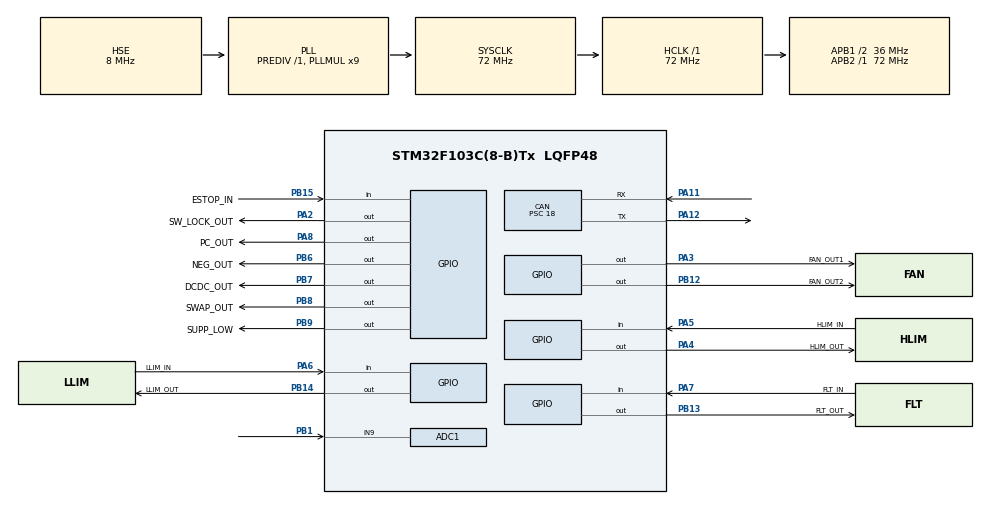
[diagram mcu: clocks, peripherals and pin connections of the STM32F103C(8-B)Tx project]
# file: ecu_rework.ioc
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ADC1.Channel-0\#ChannelRegularConversion=ADC_CHANNEL_9
ADC1.ExternalTrigConv=ADC_EXTERNALTRIGCONV_T3_TRGO
ADC1.NbrOfConversionFlag=1
ADC1.Rank-0\#ChannelRegularConversion=1
ADC1.SamplingTime-0\#ChannelRegularConversion=ADC_SAMPLETIME_239CYCLES_5
ADC1.master=1
CAN.BS1=CAN_BS1_12TQ
CAN.BS2=CAN_BS2_3TQ
CAN.CalculateBaudRate=125000
CAN.CalculateTimeBit=8000
CAN.CalculateTimeQuantum=500.0
CAN.Prescaler=18
Mcu.Family=STM32F1
Mcu.Name=STM32F103C(8-B)Tx
Mcu.Package=LQFP48
NVIC.ADC1_2_IRQn=true\:3\:0\:true\:false\:true\:true\:true\:true
NVIC.PriorityGroup=NVIC_PRIORITYGROUP_4
NVIC.TIM2_IRQn=true\:2\:0\:true\:false\:true\:true\:true\:true
PA11.Mode=CAN_Activate
PA11.Signal=CAN_RX
PA12.Mode=CAN_Activate
PA12.Signal=CAN_TX
PA13.Mode=Serial_Wire
PA13.Signal=SYS_JTMS-SWDIO
PA14.Mode=Serial_Wire
PA14.Signal=SYS_JTCK-SWCLK
PA2.GPIO_Label=SW_LOCK_OUT
PA2.GPIO_Speed=GPIO_SPEED_FREQ_HIGH
PA2.Signal=GPIO_Output
PA3.GPIO_Label=FAN_OUT1
PA3.GPIO_Speed=GPIO_SPEED_FREQ_HIGH
PA3.PinState=GPIO_PIN_RESET
PA3.Signal=GPIO_Output
PA4.GPIO_Label=HLIM_OUT
PA4.GPIO_Speed=GPIO_SPEED_FREQ_HIGH
PA4.Signal=GPIO_Output
PA5.GPIO_Label=HLIM_IN
PA5.Signal=GPIO_Input
PA6.GPIO_Label=LLIM_IN
PA6.Signal=GPIO_Input
PA7.GPIO_Label=FLT_IN
PA7.Signal=GPIO_Input
PA8.GPIO_Label=PC_OUT
PA8.GPIO_Speed=GPIO_SPEED_FREQ_HIGH
PA8.Signal=GPIO_Output
PB1.Signal=ADCx_IN9
PB12.GPIO_Label=FAN_OUT2
PB12.GPIO_Speed=GPIO_SPEED_FREQ_HIGH
PB12.Signal=GPIO_Output
PB13.GPIO_Label=FLT_OUT
PB13.GPIO_Speed=GPIO_SPEED_FREQ_HIGH
PB13.Signal=GPIO_Output
PB14.GPIO_Label=LLIM_OUT
PB14.GPIO_Speed=GPIO_SPEED_FREQ_HIGH
PB14.Signal=GPIO_Output
PB15.GPIO_Label=ESTOP_IN
PB15.Signal=GPIO_Input
PB6.GPIO_Label=NEG_OUT
PB6.GPIO_Speed=GPIO_SPEED_FREQ_HIGH
PB6.Signal=GPIO_Output
PB7.GPIO_Label=DCDC_OUT
PB7.GPIO_Speed=GPIO_SPEED_FREQ_HIGH
PB7.Signal=GPIO_Output
PB8.GPIO_Label=SWAP_OUT
PB8.GPIO_Speed=GPIO_SPEED_FREQ_HIGH
PB8.Signal=GPIO_Output
PB9.GPIO_Label=SUPP_LOW
PB9.GPIO_Speed=GPIO_SPEED_FREQ_HIGH
PB9.Signal=GPIO_Output
PD0-OSC_IN.Mode=HSE-External-Oscillator
PD0-OSC_IN.Signal=RCC_OSC_IN
PD1-OSC_OUT.Mode=HSE-External-Oscillator
PD1-OSC_OUT.Signal=RCC_OSC_OUT
ProjectManager.HeapSize=0x200
ProjectManager.StackSize=0x400
ProjectManager.TargetToolchain=Makefile
RCC.ADCPresc=RCC_ADCPCLK2_DIV6
RCC.AHBFreq_Value=72000000
RCC.APB1CLKDivider=RCC_HCLK_DIV2
RCC.APB1Freq_Value=36000000
RCC.APB1TimFreq_Value=72000000
RCC.APB2Freq_Value=72000000
RCC.APB2TimFreq_Value=72000000
RCC.EnbaleCSS=true
RCC.HCLKFreq_Value=72000000
RCC.PLLMUL=RCC_PLL_MUL9
RCC.PLLSourceVirtual=RCC_PLLSOURCE_HSE
RCC.SYSCLKFreq_VALUE=72000000
RCC.SYSCLKSource=RCC_SYSCLKSOURCE_PLLCLK
RCC.USBFreq_Value=72000000
SH.ADCx_IN9.0=ADC1_IN9,IN9
TIM2.Period=49999
TIM2.Prescaler=71
TIM2.TIM_MasterOutputTrigger=TIM_TRGO_UPDATE
TIM3.Period=9999
TIM3.Prescaler=71
TIM3.TIM_MasterOutputTrigger=TIM_TRGO_UPDATE
TIM3.TIM_MasterSlaveMode=TIM_MASTERSLAVEMODE_ENABLE
VP_TIM2_VS_ClockSourceINT.Mode=Internal
VP_TIM3_VS_ClockSourceINT.Mode=Internal
board=custom

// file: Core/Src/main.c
/* USER CODE BEGIN Header */
/**
  ******************************************************************************
  * @file           : main.c
  * @brief          : Main program body
  ******************************************************************************
  * @attention
  *
  * <h2><center>&copy; Copyright (c) 2021 STMicroelectronics.
  * All rights reserved.</center></h2>
  *
  * This software component is licensed by ST under BSD 3-Clause license,
  * the "License"; You may not use this file except in compliance with the
  * License. You may obtain a copy of the License at:
  *                        opensource.org/licenses/BSD-3-Clause
  *
  ******************************************************************************
  */
/* USER CODE END Header */
#include "main.h"

/* USER CODE BEGIN Includes */
#include "sm.h"
/* USER CODE END Includes */

 ADC_HandleTypeDef hadc1;

CAN_HandleTypeDef hcan;

TIM_HandleTypeDef htim2;
TIM_HandleTypeDef htim3;

/* USER CODE BEGIN PV */
CAN_TxHeaderTypeDef zTxHeader;
/* USER CODE END PV */

void SystemClock_Config(void);
static void MX_GPIO_Init(void);
static void MX_ADC1_Init(void);
static void MX_CAN_Init(void);
static void MX_TIM2_Init(void);
static void MX_TIM3_Init(void);
/* USER CODE BEGIN PFP */
static void SUPP_InitAndStart(void);
/* USER CODE END PFP */

int main(void)
{

  /* MCU Configuration--------------------------------------------------------*/

  /* Reset of all peripherals, Initializes the Flash interface and the Systick. */
  HAL_Init();

  /* Configure the system clock */
  SystemClock_Config();

  /* Initialize all configured peripherals */
  MX_GPIO_Init();
  MX_ADC1_Init();
  MX_CAN_Init();
  MX_TIM2_Init();
  MX_TIM3_Init();
  /* USER CODE BEGIN 2 */
  HAL_CAN_Start(&hcan);
  __disable_irq();
  SM_Init();
  SUPP_InitAndStart();
  __enable_irq();
  /* USER CODE END 2 */

  /* Infinite loop */
  /* USER CODE BEGIN WHILE */
  while(1)
  {
	  SM_Update();
  }
    /* USER CODE END WHILE */

}

void SystemClock_Config(void)
{
  RCC_OscInitTypeDef RCC_OscInitStruct = {0};
  RCC_ClkInitTypeDef RCC_ClkInitStruct = {0};
  RCC_PeriphCLKInitTypeDef PeriphClkInit = {0};

  /** Initializes the RCC Oscillators according to the specified parameters
  * in the RCC_OscInitTypeDef structure.
  */
  RCC_OscInitStruct.OscillatorType = RCC_OSCILLATORTYPE_HSE;
  RCC_OscInitStruct.HSEState = RCC_HSE_ON;
  RCC_OscInitStruct.HSEPredivValue = RCC_HSE_PREDIV_DIV1;
  RCC_OscInitStruct.HSIState = RCC_HSI_ON;
  RCC_OscInitStruct.PLL.PLLState = RCC_PLL_ON;
  RCC_OscInitStruct.PLL.PLLSource = RCC_PLLSOURCE_HSE;
  RCC_OscInitStruct.PLL.PLLMUL = RCC_PLL_MUL9;
  if (HAL_RCC_OscConfig(&RCC_OscInitStruct) != HAL_OK)
  {
    Error_Handler();
  }

  /** Initializes the CPU, AHB and APB buses clocks
  */
  RCC_ClkInitStruct.ClockType = RCC_CLOCKTYPE_HCLK|RCC_CLOCKTYPE_SYSCLK
                              |RCC_CLOCKTYPE_PCLK1|RCC_CLOCKTYPE_PCLK2;
  RCC_ClkInitStruct.SYSCLKSource = RCC_SYSCLKSOURCE_PLLCLK;
  RCC_ClkInitStruct.AHBCLKDivider = RCC_SYSCLK_DIV1;
  RCC_ClkInitStruct.APB1CLKDivider = RCC_HCLK_DIV2;
  RCC_ClkInitStruct.APB2CLKDivider = RCC_HCLK_DIV1;

  if (HAL_RCC_ClockConfig(&RCC_ClkInitStruct, FLASH_LATENCY_2) != HAL_OK)
  {
    Error_Handler();
  }
  PeriphClkInit.PeriphClockSelection = RCC_PERIPHCLK_ADC;
  PeriphClkInit.AdcClockSelection = RCC_ADCPCLK2_DIV6;
  if (HAL_RCCEx_PeriphCLKConfig(&PeriphClkInit) != HAL_OK)
  {
    Error_Handler();
  }

  /** Enables the Clock Security System
  */
  HAL_RCC_EnableCSS();
}

static void MX_ADC1_Init(void)
{

  ADC_ChannelConfTypeDef sConfig = {0};

  /** Common config
  */
  hadc1.Instance = ADC1;
  hadc1.Init.ScanConvMode = ADC_SCAN_DISABLE;
  hadc1.Init.ContinuousConvMode = DISABLE;
  hadc1.Init.DiscontinuousConvMode = DISABLE;
  hadc1.Init.ExternalTrigConv = ADC_EXTERNALTRIGCONV_T3_TRGO;
  hadc1.Init.DataAlign = ADC_DATAALIGN_RIGHT;
  hadc1.Init.NbrOfConversion = 1;
  if (HAL_ADC_Init(&hadc1) != HAL_OK)
  {
    Error_Handler();
  }

  /** Configure Regular Channel
  */
  sConfig.Channel = ADC_CHANNEL_9;
  sConfig.Rank = ADC_REGULAR_RANK_1;
  sConfig.SamplingTime = ADC_SAMPLETIME_239CYCLES_5;
  if (HAL_ADC_ConfigChannel(&hadc1, &sConfig) != HAL_OK)
  {
    Error_Handler();
  }

}

static void MX_CAN_Init(void)
{

  hcan.Instance = CAN1;
  hcan.Init.Prescaler = 18;
  hcan.Init.Mode = CAN_MODE_NORMAL;
  hcan.Init.SyncJumpWidth = CAN_SJW_1TQ;
  hcan.Init.TimeSeg1 = CAN_BS1_12TQ;
  hcan.Init.TimeSeg2 = CAN_BS2_3TQ;
  hcan.Init.TimeTriggeredMode = DISABLE;
  hcan.Init.AutoBusOff = DISABLE;
  hcan.Init.AutoWakeUp = DISABLE;
  hcan.Init.AutoRetransmission = DISABLE;
  hcan.Init.ReceiveFifoLocked = DISABLE;
  hcan.Init.TransmitFifoPriority = DISABLE;
  if (HAL_CAN_Init(&hcan) != HAL_OK)
  {
    Error_Handler();
  }

}

static void MX_TIM2_Init(void)
{

  TIM_ClockConfigTypeDef sClockSourceConfig = {0};
  TIM_MasterConfigTypeDef sMasterConfig = {0};

  htim2.Instance = TIM2;
  htim2.Init.Prescaler = 71;
  htim2.Init.CounterMode = TIM_COUNTERMODE_UP;
  htim2.Init.Period = 49999;
  htim2.Init.ClockDivision = TIM_CLOCKDIVISION_DIV1;
  htim2.Init.AutoReloadPreload = TIM_AUTORELOAD_PRELOAD_DISABLE;
  if (HAL_TIM_Base_Init(&htim2) != HAL_OK)
  {
    Error_Handler();
  }
  sClockSourceConfig.ClockSource = TIM_CLOCKSOURCE_INTERNAL;
  if (HAL_TIM_ConfigClockSource(&htim2, &sClockSourceConfig) != HAL_OK)
  {
    Error_Handler();
  }
  sMasterConfig.MasterOutputTrigger = TIM_TRGO_UPDATE;
  sMasterConfig.MasterSlaveMode = TIM_MASTERSLAVEMODE_DISABLE;
  if (HAL_TIMEx_MasterConfigSynchronization(&htim2, &sMasterConfig) != HAL_OK)
  {
    Error_Handler();
  }

}

static void MX_TIM3_Init(void)
{

  TIM_ClockConfigTypeDef sClockSourceConfig = {0};
  TIM_MasterConfigTypeDef sMasterConfig = {0};

  htim3.Instance = TIM3;
  htim3.Init.Prescaler = 71;
  htim3.Init.CounterMode = TIM_COUNTERMODE_UP;
  htim3.Init.Period = 9999;
  htim3.Init.ClockDivision = TIM_CLOCKDIVISION_DIV1;
  htim3.Init.AutoReloadPreload = TIM_AUTORELOAD_PRELOAD_DISABLE;
  if (HAL_TIM_Base_Init(&htim3) != HAL_OK)
  {
    Error_Handler();
  }
  sClockSourceConfig.ClockSource = TIM_CLOCKSOURCE_INTERNAL;
  if (HAL_TIM_ConfigClockSource(&htim3, &sClockSourceConfig) != HAL_OK)
  {
    Error_Handler();
  }
  sMasterConfig.MasterOutputTrigger = TIM_TRGO_UPDATE;
  sMasterConfig.MasterSlaveMode = TIM_MASTERSLAVEMODE_ENABLE;
  if (HAL_TIMEx_MasterConfigSynchronization(&htim3, &sMasterConfig) != HAL_OK)
  {
    Error_Handler();
  }

}

static void MX_GPIO_Init(void)
{
  GPIO_InitTypeDef GPIO_InitStruct = {0};

  /* GPIO Ports Clock Enable */
  __HAL_RCC_GPIOD_CLK_ENABLE();
  __HAL_RCC_GPIOA_CLK_ENABLE();
  __HAL_RCC_GPIOB_CLK_ENABLE();

  /*Configure GPIO pin Output Level */
  HAL_GPIO_WritePin(GPIOA, SW_LOCK_OUT_Pin|FAN_OUT1_Pin|HLIM_OUT_Pin|PC_OUT_Pin, GPIO_PIN_RESET);

  /*Configure GPIO pin Output Level */
  HAL_GPIO_WritePin(GPIOB, FAN_OUT2_Pin|FLT_OUT_Pin|LLIM_OUT_Pin|NEG_OUT_Pin
                          |DCDC_OUT_Pin|SWAP_OUT_Pin|SUPP_LOW_Pin, GPIO_PIN_RESET);

  /*Configure GPIO pins : SW_LOCK_OUT_Pin FAN_OUT1_Pin HLIM_OUT_Pin PC_OUT_Pin */
  GPIO_InitStruct.Pin = SW_LOCK_OUT_Pin|FAN_OUT1_Pin|HLIM_OUT_Pin|PC_OUT_Pin;
  GPIO_InitStruct.Mode = GPIO_MODE_OUTPUT_PP;
  GPIO_InitStruct.Pull = GPIO_NOPULL;
  GPIO_InitStruct.Speed = GPIO_SPEED_FREQ_HIGH;
  HAL_GPIO_Init(GPIOA, &GPIO_InitStruct);

  /*Configure GPIO pins : HLIM_IN_Pin LLIM_IN_Pin FLT_IN_Pin */
  GPIO_InitStruct.Pin = HLIM_IN_Pin|LLIM_IN_Pin|FLT_IN_Pin;
  GPIO_InitStruct.Mode = GPIO_MODE_INPUT;
  GPIO_InitStruct.Pull = GPIO_NOPULL;
  HAL_GPIO_Init(GPIOA, &GPIO_InitStruct);

  /*Configure GPIO pins : FAN_OUT2_Pin FLT_OUT_Pin LLIM_OUT_Pin NEG_OUT_Pin
                           DCDC_OUT_Pin SWAP_OUT_Pin SUPP_LOW_Pin */
  GPIO_InitStruct.Pin = FAN_OUT2_Pin|FLT_OUT_Pin|LLIM_OUT_Pin|NEG_OUT_Pin
                          |DCDC_OUT_Pin|SWAP_OUT_Pin|SUPP_LOW_Pin;
  GPIO_InitStruct.Mode = GPIO_MODE_OUTPUT_PP;
  GPIO_InitStruct.Pull = GPIO_NOPULL;
  GPIO_InitStruct.Speed = GPIO_SPEED_FREQ_HIGH;
  HAL_GPIO_Init(GPIOB, &GPIO_InitStruct);

  /*Configure GPIO pin : ESTOP_IN_Pin */
  GPIO_InitStruct.Pin = ESTOP_IN_Pin;
  GPIO_InitStruct.Mode = GPIO_MODE_INPUT;
  GPIO_InitStruct.Pull = GPIO_NOPULL;
  HAL_GPIO_Init(ESTOP_IN_GPIO_Port, &GPIO_InitStruct);

}

/* USER CODE BEGIN 4 */
static void SUPP_InitAndStart(void)
{
	if (HAL_OK != HAL_ADCEx_Calibration_Start(&hadc1))
	{
		Error_Handler();
	}

	if (HAL_OK != HAL_ADC_Start_IT(&hadc1))
	{
		Error_Handler();
	}

	if (HAL_OK != HAL_TIM_Base_Start(&htim3))
	{
		Error_Handler();
	}

}
/* USER CODE END 4 */

void Error_Handler(void)
{
  __disable_irq();
  while (1)
  {
  }
}
